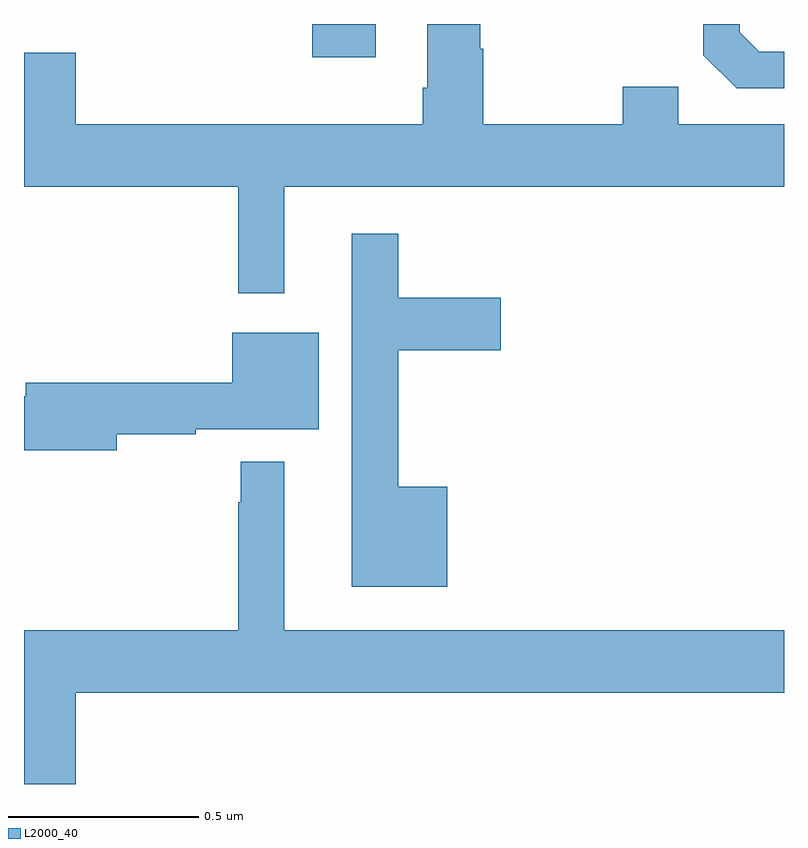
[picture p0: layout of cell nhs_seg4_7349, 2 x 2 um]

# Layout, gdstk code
import gdstk
lib = gdstk.Library(unit=1e-6, precision=1e-09)
def R(c, l, rs):  # rectangles x0, y0, x1, y1
    for r in rs: c.add(gdstk.rectangle(r[:2], r[2:], *l))
def P(c, l, *ps):  # polygons
    for p in ps: c.add(gdstk.Polygon(p, *l))
L2000_40 = (2000, 40)

nhs_seg4_7349 = lib.new_cell('nhs_seg4_7349')
R(nhs_seg4_7349, L2000_40, [(201.758,811.812,201.925,811.9)])
P(nhs_seg4_7349, L2000_40, [(203,811.827),(202.935,811.827),(202.884,811.878),(202.884,811.9),(202.788,811.9),(202.788,811.818),(202.875,811.731),(203,811.731)],
  [(201.685,811.472),(203,811.472),(203,811.636),(202.722,811.636),(202.722,811.735),(202.576,811.735),(202.576,811.636),(202.209,811.636),(202.209,811.835),(202.201,811.835),(202.201,811.9),(202.061,811.9),(202.061,811.732),(202.049,811.732),(202.049,811.636),(201.136,811.636),(201.136,811.825),(201,811.825),(201,811.472),(201.564,811.472),(201.564,811.191),(201.685,811.191)],
  [(202.114,810.682),(201.985,810.682),(201.985,811.042),(202.255,811.042),(202.255,811.179),(201.985,811.179),(201.985,811.348),(201.863,811.348),(201.863,810.419),(202.114,810.419)],
  [(201.244,810.82),(201.452,810.82),(201.452,810.833),(201.775,810.833),(201.775,811.087),(201.548,811.087),(201.548,810.956),(201.005,810.956),(201.005,810.92),(201,810.92),(201,810.778),(201.244,810.778)],
  [(201.136,810.14),(203,810.14),(203,810.304),(201.685,810.304),(201.685,810.748),(201.57,810.748),(201.57,810.641),(201.564,810.641),(201.564,810.304),(201,810.304),(201,809.9),(201.136,809.9)])

lib.write_gds('nhs_seg4_7349.gds')
